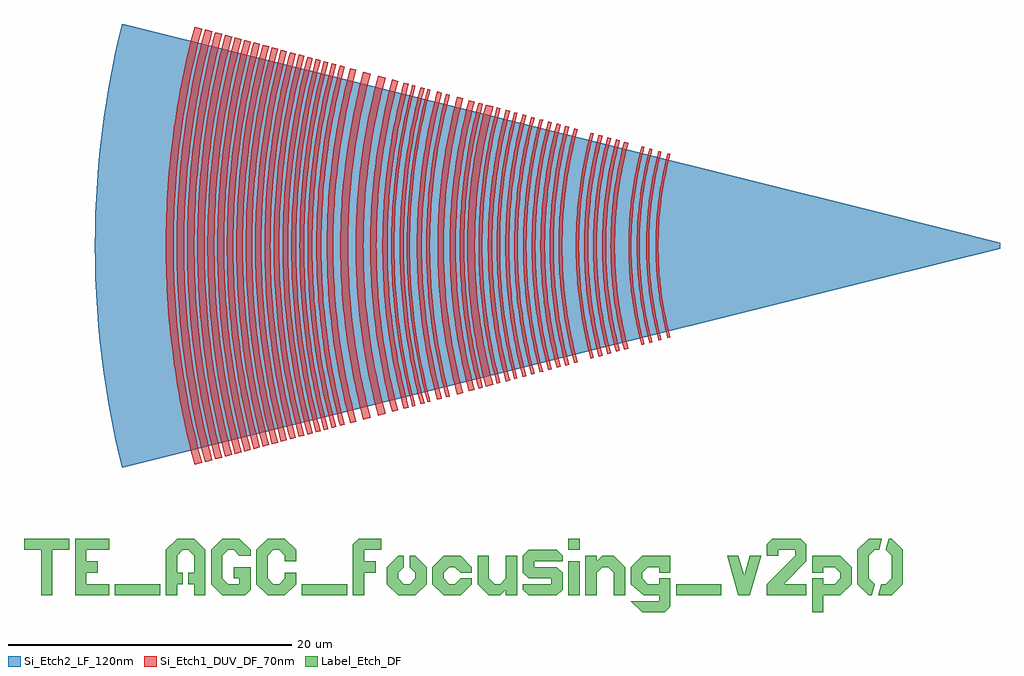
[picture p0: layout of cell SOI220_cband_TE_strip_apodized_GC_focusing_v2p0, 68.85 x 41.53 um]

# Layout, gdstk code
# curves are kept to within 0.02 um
import gdstk
lib = gdstk.Library(unit=1e-6, precision=1e-09)
def R(c, l, rs):  # rectangles x0, y0, x1, y1
    for r in rs: c.add(gdstk.rectangle(r[:2], r[2:], *l))
def P(c, l, *ps):  # polygons
    for p in ps: c.add(gdstk.Polygon(p, *l))
Si_Etch2_LF_120nm = (3, 0)
Si_Etch1_DUV_DF_70nm = (6, 0)
Label_Etch_DF = (100, 0)

text_gdsfactorypcomponen = lib.new_cell('text_gdsfactorypcomponentsptextsptext_TTE_AGC_focusing__eb78bc8c')
R(text_gdsfactorypcomponen, Label_Etch_DF, [(6.8,0,10,0.8), (20,0,23.2,0.8), (38.8,0,39.6,2.4), (46.4,0,49.6,0.8), (38.8,3.2,39.6,4)])
P(text_gdsfactorypcomponen, Label_Etch_DF, [(26.8,0),(26,0.8),(26,2),(26.8,2.8),(27.2,2.8),(27.2,2),(26.8,1.6),(26.8,1.2),(27.2,0.8),(27.6,0.8),(28,1.2),(28,1.6),(27.6,2),(27.6,2.8),(28,2.8),(28.8,2),(28.8,0.8),(28,0)],
  [(30,0),(29.2,0.8),(29.2,2),(30,2.8),(31.2,2.8),(32,2),(32,1.6),(31.2,1.6),(30.8,2),(30.4,2),(30,1.6),(30,1.2),(30.4,0.8),(30.8,0.8),(31.2,1.2),(32,1.2),(32,0.8),(31.2,0)],
  [(33.2,0),(32.4,0.8),(32.4,2.8),(33.2,2.8),(33.2,1.2),(33.6,0.8),(34,0.8),(34.4,1.2),(34.4,2.8),(35.2,2.8),(35.2,0),(34.4,0),(34.4,0.4),(34,0)],
  [(40,0),(40,2.8),(40.8,2.8),(40.8,2.4),(41.2,2.8),(42,2.8),(42.8,2),(42.8,0),(42,0),(42,1.6),(41.6,2),(41.2,2),(40.8,1.6),(40.8,0)],
  [(44,-1.2),(43.2,-0.4),(45.2,-0.4),(45.2,0),(44.136,0),(43.2,0.8),(43.2,2),(44,2.8),(46,2.8),(46,1.6),(45.2,1.6),(45.2,2),(44.4,2),(44,1.6),(44,1.2),(44.4,0.8),(45.2,0.8),(45.2,1.2),(46,1.2),(46,-0.8),(45.6,-1.2)],
  [(50.8,0),(50,2.8),(50.8,2.8),(51.2,1.4),(51.6,2.8),(52.4,2.8),(51.6,0)],
  [(56,-1.2),(56,1.2),(56.8,1.2),(56.8,0.8),(57.6,0.8),(58,1.2),(58,1.6),(57.6,2),(56.8,2),(56.8,1.6),(56,1.6),(56,2.8),(58,2.8),(58.8,2),(58.8,0.8),(58,0),(56.8,0),(56.8,-1.2)],
  [(36,0),(35.6,0.4),(35.6,0.8),(37.6,0.8),(37.6,1.2),(36,1.2),(35.6,1.6),(35.6,2.8),(36,3.2),(38,3.2),(38.4,2.8),(38.4,2.4),(36.4,2.4),(36.4,2),(38,2),(38.4,1.6),(38.4,0.4),(38,0)],
  [(1.6,0),(1.6,3.2),(0.4,3.2),(0.4,4),(3.6,4),(3.6,3.2),(2.4,3.2),(2.4,0)],
  [(4,0),(4,4),(6.4,4),(6.4,3.2),(4.8,3.2),(4.8,2.4),(5.6,2.4),(5.6,1.6),(4.8,1.6),(4.8,0.8),(6.4,0.8),(6.4,0)],
  [(10.396,0),(10.4,3.2),(11.2,4),(12.404,4),(13.2,3.2),(13.2,0),(12.404,0),(12.404,0.8),(12,0.8),(12,1.6),(12.404,1.6),(12.404,2.8),(12,3.2),(11.6,3.2),(11.2,2.8),(11.2,1.6),(11.6,1.6),(11.6,0.8),(11.2,0.8),(11.2,0)],
  [(14.4,0),(13.6,0.8),(13.6,3.2),(14.4,4),(15.6,4),(16.4,3.2),(16.4,2.8),(15.6,2.8),(15.2,3.2),(14.8,3.2),(14.4,2.8),(14.4,1.2),(14.8,0.8),(15.6,0.8),(15.6,1.2),(15.2,1.2),(15.2,2),(16.4,2),(16.4,0.4),(16,0)],
  [(17.6,0),(16.8,0.8),(16.8,3.2),(17.6,4),(18.8,4),(19.6,3.2),(19.6,2.4),(18.8,2.4),(18.8,2.8),(18.4,3.2),(18,3.2),(17.6,2.8),(17.6,1.2),(18,0.8),(18.4,0.8),(18.8,1.2),(18.8,1.6),(19.6,1.6),(19.6,0.8),(18.8,0)],
  [(23.6,0),(23.6,3.6),(24,4),(25.6,4),(25.6,3.2),(24.4,3.2),(24.4,2.4),(25.2,2.4),(25.2,1.6),(24.4,1.6),(24.4,0)],
  [(52.8,0),(52.8,0.8),(54.8,2.8),(54.8,3.2),(53.6,3.2),(53.6,2.8),(52.8,2.8),(52.8,3.6),(53.2,4),(55.2,4),(55.6,3.6),(55.6,2.4),(54,0.8),(55.6,0.8),(55.6,0)],
  [(60,0),(59.2,0.8),(59.2,3.2),(60,4),(60.92,4),(60.72,3.2),(60.4,3.2),(60,2.8),(60,1.2),(60.4,0.8),(60.2,0)],
  [(60.68,0),(60.88,0.8),(61.2,0.8),(61.6,1.2),(61.6,2.8),(61.2,3.2),(61.4,4),(61.6,4),(62.4,3.2),(62.4,0.8),(61.6,0)])

soi220_cband_te_strip_ap = lib.new_cell('SOI220_cband_TE_strip_apodized_GC_focusing_v2p0')
P(soi220_cband_te_strip_ap, Si_Etch2_LF_120nm, [(-61.929,-15.666),(-62.438,-13.463),(-62.869,-11.245),(-63.056,-10.13),(-63.37,-7.892),(-63.607,-5.644),(-63.695,-4.517),(-63.814,-2.26),(-63.853,0),(-63.814,2.26),(-63.695,4.517),(-63.607,5.644),(-63.37,7.892),(-63.056,10.13),(-62.869,11.245),(-62.438,13.463),(-61.929,15.666),(0,0.225),(0,-0.225)])
P(soi220_cband_te_strip_ap, Si_Etch1_DUV_DF_70nm, [(-23.439,-6.522),(-23.835,-4.808),(-24.111,-3.071),(-24.251,-1.538),(-24.298,0),(-24.251,1.538),(-24.111,3.071),(-23.835,4.808),(-23.439,6.522),(-23.246,6.47),(-23.639,4.77),(-23.884,3.263),(-24.037,1.744),(-24.098,0),(-24.037,-1.744),(-23.884,-3.263),(-23.639,-4.77),(-23.246,-6.47)],
  [(-24.075,-6.692),(-24.481,-4.934),(-24.734,-3.375),(-24.908,-1.579),(-24.956,0),(-24.908,1.579),(-24.734,3.375),(-24.481,4.934),(-24.075,6.692),(-23.882,6.641),(-24.285,4.896),(-24.536,3.349),(-24.708,1.566),(-24.756,0),(-24.708,-1.566),(-24.536,-3.349),(-24.285,-4.896),(-23.882,-6.641)],
  [(-24.72,-6.864),(-25.091,-5.288),(-25.396,-3.462),(-25.559,-1.85),(-25.623,0),(-25.559,1.85),(-25.396,3.462),(-25.091,5.288),(-24.72,6.864),(-24.526,6.813),(-24.895,5.248),(-25.198,3.436),(-25.374,1.607),(-25.423,0),(-25.374,-1.607),(-25.198,-3.436),(-24.895,-5.248),(-24.526,-6.813)],
  [(-25.282,-7.015),(-25.662,-5.405),(-25.974,-3.538),(-26.156,-1.655),(-26.206,0),(-26.156,1.655),(-25.974,3.538),(-25.662,5.405),(-25.282,7.015),(-25.089,6.964),(-25.512,5.134),(-25.776,3.512),(-25.956,1.643),(-26.006,0),(-25.956,-1.643),(-25.776,-3.512),(-25.512,-5.134),(-25.089,-6.964)],
  [(-26.511,-7.345),(-26.908,-5.658),(-27.235,-3.704),(-27.409,-1.98),(-27.478,0),(-27.409,1.98),(-27.235,3.704),(-26.908,5.658),(-26.511,7.345),(-26.213,7.266),(-26.654,5.356),(-26.93,3.664),(-27.118,1.714),(-27.17,0),(-27.118,-1.714),(-26.93,-3.664),(-26.654,-5.356),(-26.213,-7.266)],
  [(-27.082,-7.498),(-27.537,-5.529),(-27.822,-3.781),(-27.998,-2.02),(-28.069,0),(-27.998,2.02),(-27.822,3.781),(-27.537,5.529),(-27.082,7.498),(-26.811,7.426),(-27.262,5.475),(-27.544,3.745),(-27.719,2.001),(-27.789,0),(-27.719,-2.001),(-27.544,-3.745),(-27.262,-5.475),(-26.811,-7.426)],
  [(-27.692,-7.66),(-28.106,-5.901),(-28.447,-3.864),(-28.645,-1.807),(-28.7,0),(-28.645,1.807),(-28.447,3.864),(-28.106,5.901),(-27.692,7.66),(-27.442,7.595),(-27.903,5.599),(-28.191,3.83),(-28.371,2.047),(-28.442,0),(-28.371,-2.047),(-28.191,-3.83),(-27.903,-5.599),(-27.442,-7.595)],
  [(-28.306,-7.825),(-28.782,-5.769),(-29.079,-3.948),(-29.263,-2.109),(-29.337,0),(-29.263,2.109),(-29.079,3.948),(-28.782,5.769),(-28.306,7.825),(-28.03,7.752),(-28.45,5.972),(-28.795,3.91),(-28.978,2.089),(-29.051,0),(-28.978,-2.089),(-28.795,-3.91),(-28.45,-5.972),(-28.03,-7.752)],
  [(-28.877,-7.978),(-29.361,-5.882),(-29.663,-4.024),(-29.87,-1.882),(-29.927,0),(-29.87,1.882),(-29.663,4.024),(-29.361,5.882),(-28.877,7.978),(-28.661,7.921),(-29.09,6.102),(-29.442,3.995),(-29.647,1.868),(-29.704,0),(-29.647,-1.868),(-29.442,-3.995),(-29.09,-6.102),(-28.661,-7.921)],
  [(-30.043,-8.291),(-30.492,-6.387),(-30.861,-4.182),(-31.076,-1.956),(-31.135,0),(-31.076,1.956),(-30.861,4.182),(-30.492,6.387),(-30.043,8.291),(-29.791,8.224),(-30.236,6.335),(-30.602,4.148),(-30.797,2.217),(-30.874,0),(-30.797,-2.217),(-30.602,-4.148),(-30.236,-6.335),(-29.791,-8.224)],
  [(-30.658,-8.455),(-30.934,-7.35),(-31.171,-6.234),(-31.492,-4.265),(-31.621,-3.132),(-31.71,-1.995),(-31.771,0),(-31.71,1.995),(-31.621,3.132),(-31.492,4.265),(-31.171,6.234),(-30.934,7.35),(-30.658,8.455),(-30.388,8.384),(-30.842,6.458),(-31.215,4.228),(-31.432,1.978),(-31.492,0),(-31.432,-1.978),(-31.215,-4.228),(-30.842,-6.458),(-30.388,-8.384)],
  [(-31.282,-8.623),(-31.564,-7.495),(-31.806,-6.357),(-32.133,-4.349),(-32.337,-2.324),(-32.398,-1.163),(-32.418,0),(-32.398,1.163),(-32.337,2.324),(-32.133,4.349),(-31.806,6.357),(-31.564,7.495),(-31.282,8.623),(-30.977,8.542),(-31.256,7.424),(-31.496,6.297),(-31.82,4.308),(-32.022,2.302),(-32.082,1.152),(-32.102,0),(-32.082,-1.152),(-32.022,-2.302),(-31.82,-4.308),(-31.496,-6.297),(-31.256,-7.424),(-30.977,-8.542)],
  [(-31.875,-8.78),(-32.349,-6.765),(-32.74,-4.429),(-32.874,-3.253),(-32.967,-2.072),(-33.03,0),(-32.967,2.072),(-32.874,3.253),(-32.74,4.429),(-32.349,6.765),(-31.875,8.78),(-31.625,8.715),(-32.096,6.714),(-32.31,5.558),(-32.484,4.395),(-32.69,2.349),(-32.751,1.175),(-32.772,0),(-32.751,-1.175),(-32.69,-2.349),(-32.484,-4.395),(-32.31,-5.558),(-32.096,-6.714),(-31.625,-8.715)],
  [(-32.461,-8.938),(-32.753,-7.77),(-33.004,-6.591),(-33.342,-4.508),(-33.479,-3.31),(-33.574,-2.109),(-33.638,0),(-33.574,2.109),(-33.479,3.31),(-33.342,4.508),(-33.004,6.591),(-32.753,7.77),(-32.461,8.938),(-32.239,8.88),(-32.529,7.718),(-32.778,6.547),(-33.114,4.478),(-33.25,3.288),(-33.344,2.095),(-33.408,0),(-33.344,-2.095),(-33.25,-3.288),(-33.114,-4.478),(-32.778,-6.547),(-32.529,-7.718),(-32.239,-8.88)],
  [(-33.069,-9.101),(-33.561,-7.011),(-33.785,-5.805),(-33.966,-4.59),(-34.105,-3.371),(-34.202,-2.147),(-34.267,0),(-34.202,2.147),(-34.105,3.371),(-33.966,4.59),(-33.785,5.805),(-33.561,7.011),(-33.069,9.101),(-32.83,9.038),(-33.319,6.962),(-33.541,5.764),(-33.721,4.558),(-33.859,3.347),(-33.955,2.132),(-34.02,0),(-33.955,-2.132),(-33.859,-3.347),(-33.721,-4.558),(-33.541,-5.764),(-33.319,-6.962),(-32.83,-9.038)],
  [(-33.674,-9.263),(-34.175,-7.137),(-34.402,-5.908),(-34.587,-4.672),(-34.728,-3.431),(-34.826,-2.186),(-34.893,0),(-34.826,2.186),(-34.728,3.431),(-34.587,4.672),(-34.402,5.908),(-34.175,7.137),(-33.674,9.263),(-33.413,9.195),(-33.91,7.083),(-34.136,5.863),(-34.319,4.637),(-34.459,3.405),(-34.557,2.169),(-34.623,0),(-34.557,-2.169),(-34.459,-3.405),(-34.319,-4.637),(-34.136,-5.863),(-33.91,-7.083),(-33.413,-9.195)],
  [(-34.26,-9.421),(-34.77,-7.258),(-35.002,-6.009),(-35.19,-4.752),(-35.333,-3.489),(-35.434,-2.222),(-35.501,0),(-35.434,2.222),(-35.333,3.489),(-35.19,4.752),(-35.002,6.009),(-34.77,7.258),(-34.26,9.421),(-34.04,9.363),(-34.547,7.212),(-34.777,5.971),(-34.964,4.722),(-35.106,3.467),(-35.206,2.208),(-35.273,0),(-35.206,-2.208),(-35.106,-3.467),(-34.964,-4.722),(-34.777,-5.971),(-34.547,-7.212),(-34.04,-9.363)],
  [(-34.863,-9.582),(-35.381,-7.382),(-35.616,-6.111),(-35.807,-4.833),(-36.034,-2.583),(-36.102,-1.292),(-36.124,0),(-36.102,1.292),(-36.034,2.583),(-35.807,4.833),(-35.616,6.111),(-35.381,7.382),(-34.863,9.582),(-34.566,9.504),(-35.08,7.321),(-35.313,6.06),(-35.503,4.793),(-35.648,3.519),(-35.749,2.242),(-35.817,0),(-35.749,-2.242),(-35.648,-3.519),(-35.503,-4.793),(-35.313,-6.06),(-35.08,-7.321),(-34.566,-9.504)],
  [(-35.497,-9.752),(-36.025,-7.512),(-36.264,-6.219),(-36.459,-4.918),(-36.608,-3.612),(-36.711,-2.3),(-36.781,0),(-36.711,2.3),(-36.608,3.612),(-36.459,4.918),(-36.264,6.219),(-36.025,7.512),(-35.497,9.752),(-35.243,9.685),(-35.767,7.46),(-36.005,6.176),(-36.198,4.884),(-36.427,2.61),(-36.495,1.306),(-36.518,0),(-36.495,-1.306),(-36.427,-2.61),(-36.198,-4.884),(-36.005,-6.176),(-35.767,-7.46),(-35.243,-9.685)],
  [(-36.271,-9.958),(-36.595,-8.658),(-36.875,-7.344),(-37.252,-5.023),(-37.489,-2.684),(-37.559,-1.343),(-37.582,0),(-37.559,1.343),(-37.489,2.684),(-37.252,5.023),(-36.875,7.344),(-36.595,8.658),(-36.271,9.958),(-35.749,9.821),(-36.069,8.536),(-36.345,7.24),(-36.717,4.953),(-36.95,2.647),(-37.019,1.324),(-37.042,0),(-37.019,-1.324),(-36.95,-2.647),(-36.717,-4.953),(-36.345,-7.24),(-36.069,-8.536),(-35.749,-9.821)],
  [(-36.785,-10.097),(-37.331,-7.779),(-37.579,-6.44),(-37.78,-5.093),(-38.019,-2.721),(-38.09,-1.362),(-38.114,0),(-38.09,1.362),(-38.019,2.721),(-37.78,5.093),(-37.579,6.44),(-37.331,7.779),(-36.785,10.097),(-36.477,10.016),(-36.804,8.705),(-37.085,7.384),(-37.465,5.051),(-37.702,2.699),(-37.772,1.351),(-37.796,0),(-37.772,-1.351),(-37.702,-2.699),(-37.465,-5.051),(-37.085,-7.384),(-36.804,-8.705),(-36.477,-10.016)],
  [(-37.469,-10.279),(-37.804,-8.936),(-38.092,-7.579),(-38.482,-5.184),(-38.639,-3.806),(-38.748,-2.425),(-38.822,0),(-38.748,2.425),(-38.639,3.806),(-38.482,5.184),(-38.092,7.579),(-37.804,8.936),(-37.469,10.279),(-37.056,10.171),(-37.606,7.835),(-37.856,6.486),(-38.059,5.129),(-38.214,3.766),(-38.322,2.399),(-38.395,0),(-38.322,-2.399),(-38.214,-3.766),(-38.059,-5.129),(-37.856,-6.486),(-37.606,-7.835),(-37.056,-10.171)],
  [(-38.3,-10.502),(-38.867,-8.091),(-39.125,-6.698),(-39.335,-5.298),(-39.583,-2.831),(-39.658,-1.416),(-39.682,0),(-39.658,1.416),(-39.583,2.831),(-39.335,5.298),(-39.125,6.698),(-38.867,8.091),(-38.3,10.502),(-37.872,10.39),(-38.434,8.003),(-38.689,6.625),(-38.897,5.24),(-39.055,3.847),(-39.165,2.451),(-39.24,0),(-39.165,-2.451),(-39.055,-3.847),(-38.897,-5.24),(-38.689,-6.625),(-38.434,-8.003),(-37.872,-10.39)],
  [(-39.066,-10.708),(-39.646,-8.249),(-39.908,-6.829),(-40.122,-5.401),(-40.286,-3.966),(-40.399,-2.526),(-40.476,0),(-40.399,2.526),(-40.286,3.966),(-40.122,5.401),(-39.908,6.829),(-39.646,8.249),(-39.066,10.708),(-38.813,10.642),(-39.16,9.249),(-39.459,7.845),(-39.862,5.367),(-40.114,2.868),(-40.189,1.435),(-40.214,0),(-40.189,-1.435),(-40.114,-2.868),(-39.862,-5.367),(-39.459,-7.845),(-39.16,-9.249),(-38.813,-10.642)],
  [(-39.708,-10.88),(-40.296,-8.382),(-40.563,-6.939),(-40.78,-5.487),(-40.91,-4.395),(-41.037,-2.933),(-41.115,-1.468),(-41.14,0),(-41.115,1.468),(-41.037,2.933),(-40.91,4.395),(-40.78,5.487),(-40.563,6.939),(-40.296,8.382),(-39.708,10.88),(-39.366,10.79),(-39.718,9.378),(-40.02,7.954),(-40.429,5.441),(-40.594,3.996),(-40.708,2.545),(-40.786,0),(-40.708,-2.545),(-40.594,-3.996),(-40.429,-5.441),(-40.02,-7.954),(-39.718,-9.378),(-39.366,-10.79)],
  [(-40.386,-11.061),(-40.747,-9.616),(-40.984,-8.522),(-41.256,-7.055),(-41.476,-5.579),(-41.645,-4.097),(-41.763,-2.61),(-41.842,0),(-41.763,2.61),(-41.645,4.097),(-41.476,5.579),(-41.256,7.055),(-40.984,8.522),(-40.747,9.616),(-40.386,11.061),(-40.186,11.009),(-40.627,9.207),(-40.923,7.752),(-41.168,6.287),(-41.362,4.815),(-41.556,2.597),(-41.635,0),(-41.556,-2.597),(-41.362,-4.815),(-41.168,-6.287),(-40.923,-7.752),(-40.627,-9.207),(-40.186,-11.009)],
  [(-40.876,-11.193),(-41.241,-9.729),(-41.555,-8.253),(-41.979,-5.645),(-42.15,-4.145),(-42.268,-2.641),(-42.323,-1.509),(-42.349,0),(-42.323,1.509),(-42.268,2.641),(-42.15,4.145),(-41.979,5.645),(-41.555,8.253),(-41.241,9.729),(-40.876,11.193),(-40.599,11.12),(-40.962,9.665),(-41.274,8.198),(-41.695,5.608),(-41.865,4.118),(-41.983,2.623),(-42.063,0),(-41.983,-2.623),(-41.865,-4.118),(-41.695,-5.608),(-41.274,-8.198),(-40.962,-9.665),(-40.599,-11.12)],
  [(-41.449,-11.347),(-41.82,-9.863),(-42.063,-8.741),(-42.342,-7.236),(-42.568,-5.723),(-42.741,-4.202),(-42.862,-2.677),(-42.943,0),(-42.862,2.677),(-42.741,4.202),(-42.568,5.723),(-42.342,7.236),(-42.063,8.741),(-41.82,9.863),(-41.449,11.347),(-41.243,11.293),(-41.612,9.815),(-41.928,8.325),(-42.193,6.826),(-42.45,4.939),(-42.649,2.664),(-42.73,0),(-42.649,-2.664),(-42.45,-4.939),(-42.193,-6.826),(-41.928,-8.325),(-41.612,-9.815),(-41.243,-11.293)],
  [(-42.053,-11.508),(-42.428,-10.004),(-42.751,-8.486),(-43.021,-6.956),(-43.188,-5.805),(-43.46,-3.102),(-43.541,-1.552),(-43.568,0),(-43.541,1.552),(-43.46,3.102),(-43.188,5.805),(-43.021,6.956),(-42.751,8.486),(-42.428,10.004),(-42.053,11.508),(-41.706,11.417),(-42.078,9.923),(-42.399,8.417),(-42.832,5.758),(-43.102,3.077),(-43.182,1.539),(-43.209,0),(-43.182,-1.539),(-43.102,-3.077),(-42.832,-5.758),(-42.399,-8.417),(-42.078,-9.923),(-41.706,-11.417)],
  [(-42.882,-11.731),(-43.266,-10.197),(-43.517,-9.037),(-43.805,-7.482),(-44.039,-5.916),(-44.179,-4.738),(-44.317,-3.161),(-44.4,-1.583),(-44.427,0),(-44.4,1.583),(-44.317,3.161),(-44.179,4.738),(-44.039,5.916),(-43.805,7.482),(-43.517,9.037),(-43.266,10.197),(-42.882,11.731),(-42.456,11.618),(-42.836,10.098),(-43.085,8.949),(-43.37,7.409),(-43.602,5.859),(-43.74,4.692),(-43.877,3.131),(-43.959,1.567),(-43.986,0),(-43.959,-1.567),(-43.877,-3.131),(-43.74,-4.692),(-43.602,-5.859),(-43.37,-7.409),(-43.085,-8.949),(-42.836,-10.098),(-42.456,-11.618)],
  [(-43.871,-11.994),(-44.262,-10.427),(-44.598,-8.844),(-44.815,-7.65),(-45.053,-6.051),(-45.236,-4.443),(-45.364,-2.829),(-45.422,-1.618),(-45.45,0),(-45.422,1.618),(-45.364,2.829),(-45.236,4.443),(-45.053,6.051),(-44.815,7.65),(-44.598,8.844),(-44.262,10.427),(-43.871,11.994),(-43.343,11.855),(-43.73,10.304),(-44.062,8.74),(-44.276,7.56),(-44.512,5.979),(-44.693,4.39),(-44.819,2.796),(-44.876,1.599),(-44.904,0),(-44.876,-1.599),(-44.819,-2.796),(-44.693,-4.39),(-44.512,-5.979),(-44.276,-7.56),(-44.062,-8.74),(-43.73,-10.304),(-43.343,-11.855)],
  [(-44.921,-12.275),(-45.321,-10.672),(-45.585,-9.457),(-45.886,-7.83),(-46.131,-6.191),(-46.277,-4.958),(-46.422,-3.31),(-46.508,-1.655),(-46.537,0),(-46.508,1.655),(-46.422,3.31),(-46.277,4.958),(-46.131,6.191),(-45.886,7.83),(-45.585,9.457),(-45.321,10.672),(-44.921,12.275),(-44.39,12.136),(-44.786,10.548),(-45.047,9.348),(-45.345,7.739),(-45.587,6.12),(-45.772,4.494),(-45.901,2.863),(-45.972,1.227),(-45.988,0),(-45.972,-1.227),(-45.901,-2.863),(-45.772,-4.494),(-45.587,-6.12),(-45.345,-7.739),(-45.047,-9.348),(-44.786,-10.548),(-44.39,-12.136)],
  [(-45.843,-12.522),(-46.25,-10.886),(-46.52,-9.648),(-46.828,-7.987),(-47.077,-6.317),(-47.268,-4.639),(-47.401,-2.954),(-47.475,-1.267),(-47.491,0),(-47.475,1.267),(-47.401,2.954),(-47.268,4.639),(-47.077,6.317),(-46.828,7.987),(-46.52,9.648),(-46.25,10.886),(-45.843,12.522),(-45.402,12.407),(-45.71,11.191),(-46.073,9.557),(-46.378,7.912),(-46.625,6.257),(-46.814,4.595),(-46.946,2.926),(-47.019,1.255),(-47.035,0),(-47.019,-1.255),(-46.946,-2.926),(-46.814,-4.595),(-46.625,-6.257),(-46.378,-7.912),(-46.073,-9.557),(-45.71,-11.191),(-45.402,-12.407)],
  [(-46.558,-12.715),(-46.973,-11.053),(-47.33,-9.375),(-47.627,-7.687),(-47.812,-6.413),(-47.963,-5.136),(-48.112,-3.428),(-48.202,-1.714),(-48.232,0),(-48.202,1.714),(-48.112,3.428),(-47.963,5.136),(-47.812,6.413),(-47.627,7.687),(-47.33,9.375),(-46.973,11.053),(-46.558,12.715),(-46.214,12.625),(-46.626,10.973),(-46.897,9.725),(-47.207,8.051),(-47.459,6.367),(-47.651,4.675),(-47.785,2.978),(-47.859,1.277),(-47.876,0),(-47.859,-1.277),(-47.785,-2.978),(-47.651,-4.675),(-47.459,-6.367),(-47.207,-8.051),(-46.897,-9.725),(-46.626,-10.973),(-46.214,-12.625)],
  [(-47.153,-12.875),(-47.573,-11.192),(-47.934,-9.493),(-48.236,-7.783),(-48.422,-6.494),(-48.619,-4.768),(-48.727,-3.47),(-48.818,-1.737),(-48.848,0),(-48.818,1.737),(-48.727,3.47),(-48.619,4.768),(-48.422,6.494),(-48.236,7.783),(-47.934,9.493),(-47.573,11.192),(-47.153,12.875),(-46.828,12.789),(-47.246,11.116),(-47.52,9.852),(-47.834,8.156),(-48.089,6.45),(-48.285,4.736),(-48.392,3.447),(-48.482,1.725),(-48.512,0),(-48.482,-1.725),(-48.392,-3.447),(-48.285,-4.736),(-48.089,-6.45),(-47.834,-8.156),(-47.52,-9.852),(-47.246,-11.116),(-46.828,-12.789)],
  [(-47.705,-13.023),(-48.13,-11.32),(-48.495,-9.602),(-48.8,-7.872),(-48.988,-6.568),(-49.187,-4.824),(-49.325,-3.072),(-49.389,-1.757),(-49.419,0),(-49.389,1.757),(-49.325,3.072),(-49.187,4.824),(-48.988,6.568),(-48.8,7.872),(-48.495,9.602),(-48.13,11.32),(-47.705,13.023),(-47.387,12.939),(-47.809,11.246),(-48.172,9.539),(-48.475,7.82),(-48.662,6.525),(-48.86,4.792),(-48.997,3.052),(-49.06,1.745),(-49.09,0),(-49.06,-1.745),(-48.997,-3.052),(-48.86,-4.792),(-48.662,-6.525),(-48.475,-7.82),(-48.172,-9.539),(-47.809,-11.246),(-47.387,-12.939)],
  [(-48.261,-13.172),(-48.69,-11.45),(-49.06,-9.712),(-49.369,-7.962),(-49.56,-6.643),(-49.716,-5.32),(-49.871,-3.55),(-49.964,-1.776),(-49.995,0),(-49.964,1.776),(-49.871,3.55),(-49.716,5.32),(-49.56,6.643),(-49.369,7.962),(-49.06,9.712),(-48.69,11.45),(-48.261,13.172),(-47.927,13.084),(-48.354,11.372),(-48.721,9.646),(-49.028,7.908),(-49.218,6.598),(-49.417,4.845),(-49.556,3.086),(-49.633,1.323),(-49.65,0),(-49.633,-1.323),(-49.556,-3.086),(-49.417,-4.845),(-49.218,-6.598),(-49.028,-7.908),(-48.721,-9.646),(-48.354,-11.372),(-47.927,-13.084)],
  [(-48.851,-13.33),(-49.286,-11.587),(-49.66,-9.828),(-49.9,-8.502),(-50.166,-6.723),(-50.369,-4.937),(-50.51,-3.145),(-50.575,-1.797),(-50.606,0),(-50.575,1.797),(-50.51,3.145),(-50.369,4.937),(-50.166,6.723),(-49.9,8.502),(-49.66,9.828),(-49.286,11.587),(-48.851,13.33),(-48.479,13.232),(-48.911,11.5),(-49.282,9.755),(-49.592,7.997),(-49.784,6.673),(-49.986,4.9),(-50.126,3.121),(-50.19,1.784),(-50.221,0),(-50.19,-1.784),(-50.126,-3.121),(-49.986,-4.9),(-49.784,-6.673),(-49.592,-7.997),(-49.282,-9.755),(-48.911,-11.5),(-48.479,-13.232)],
  [(-49.46,-13.493),(-49.9,-11.728),(-50.278,-9.949),(-50.521,-8.606),(-50.79,-6.805),(-50.951,-5.45),(-51.109,-3.637),(-51.204,-1.819),(-51.236,0),(-51.204,1.819),(-51.109,3.637),(-50.951,5.45),(-50.79,6.805),(-50.521,8.606),(-50.278,9.949),(-49.9,11.728),(-49.46,13.493),(-49.081,13.393),(-49.518,11.64),(-49.893,9.874),(-50.207,8.095),(-50.401,6.754),(-50.561,5.409),(-50.718,3.61),(-50.812,1.806),(-50.844,0),(-50.812,-1.806),(-50.718,-3.61),(-50.561,-5.409),(-50.401,-6.754),(-50.207,-8.095),(-49.893,-9.874),(-49.518,-11.64),(-49.081,-13.393)],
  [(-50.082,-13.659),(-50.527,-11.873),(-50.821,-10.523),(-51.156,-8.712),(-51.428,-6.889),(-51.591,-5.518),(-51.751,-3.682),(-51.848,-1.843),(-51.88,0),(-51.848,1.843),(-51.751,3.682),(-51.591,5.518),(-51.428,6.889),(-51.156,8.712),(-50.821,10.523),(-50.527,11.873),(-50.082,13.659),(-49.681,13.554),(-50.123,11.78),(-50.414,10.44),(-50.747,8.643),(-51.017,6.835),(-51.224,5.019),(-51.367,3.197),(-51.433,1.828),(-51.465,0),(-51.433,-1.828),(-51.367,-3.197),(-51.224,-5.019),(-51.017,-6.835),(-50.747,-8.643),(-50.414,-10.44),(-50.123,-11.78),(-49.681,-13.554)],
  [(-50.723,-13.831),(-51.173,-12.023),(-51.561,-10.198),(-51.885,-8.361),(-52.085,-6.976),(-52.251,-5.587),(-52.413,-3.728),(-52.511,-1.865),(-52.543,0),(-52.511,1.865),(-52.413,3.728),(-52.251,5.587),(-52.085,6.976),(-51.885,8.361),(-51.561,10.198),(-51.173,12.023),(-50.723,13.831),(-50.302,13.72),(-50.749,11.925),(-51.044,10.568),(-51.381,8.749),(-51.654,6.919),(-51.818,5.541),(-51.979,3.698),(-52.076,1.85),(-52.108,0),(-52.076,-1.85),(-51.979,-3.698),(-51.818,-5.541),(-51.654,-6.919),(-51.381,-8.749),(-51.044,-10.568),(-50.749,-11.925),(-50.302,-13.72)],
  [(-51.364,-14.004),(-51.822,-12.172),(-52.122,-10.788),(-52.466,-8.93),(-52.745,-7.063),(-52.959,-5.187),(-53.107,-3.303),(-53.19,-1.417),(-53.208,0),(-53.19,1.417),(-53.107,3.303),(-52.959,5.187),(-52.745,7.063),(-52.466,8.93),(-52.122,10.788),(-51.822,12.172),(-51.364,14.004),(-50.934,13.89),(-51.388,12.072),(-51.686,10.699),(-52.027,8.857),(-52.304,7.005),(-52.516,5.144),(-52.663,3.276),(-52.745,1.405),(-52.763,0),(-52.745,-1.405),(-52.663,-3.276),(-52.516,-5.144),(-52.304,-7.005),(-52.027,-8.857),(-51.686,-10.699),(-51.388,-12.072),(-50.934,-13.89)],
  [(-52.012,-14.176),(-52.474,-12.323),(-52.872,-10.453),(-53.127,-9.042),(-53.409,-7.15),(-53.626,-5.25),(-53.745,-3.821),(-53.845,-1.912),(-53.878,0),(-53.845,1.912),(-53.745,3.821),(-53.626,5.25),(-53.409,7.15),(-53.127,9.042),(-52.872,10.453),(-52.474,12.323),(-52.012,14.176),(-51.568,14.059),(-52.027,12.22),(-52.421,10.365),(-52.674,8.966),(-52.954,7.09),(-53.169,5.206),(-53.287,3.789),(-53.386,1.896),(-53.419,0),(-53.386,-1.896),(-53.287,-3.789),(-53.169,-5.206),(-52.954,-7.09),(-52.674,-8.966),(-52.421,-10.365),(-52.027,-12.22),(-51.568,-14.059)],
  [(-52.649,-14.348),(-53.117,-12.472),(-53.52,-10.578),(-53.778,-9.15),(-54.064,-7.236),(-54.235,-5.795),(-54.403,-3.866),(-54.505,-1.935),(-54.538,0),(-54.505,1.935),(-54.403,3.866),(-54.235,5.795),(-54.064,7.236),(-53.778,9.15),(-53.52,10.578),(-53.117,12.472),(-52.649,14.348),(-52.208,14.231),(-52.673,12.369),(-53.072,10.491),(-53.328,9.075),(-53.612,7.177),(-53.829,5.27),(-53.948,3.835),(-54.049,1.919),(-54.082,0),(-54.049,-1.919),(-53.948,-3.835),(-53.829,-5.27),(-53.612,-7.177),(-53.328,-9.075),(-53.072,-10.491),(-52.673,-12.369),(-52.208,-14.231)],
  [(-53.303,-14.522),(-53.777,-12.624),(-54.184,-10.708),(-54.446,-9.261),(-54.735,-7.325),(-54.957,-5.379),(-55.11,-3.426),(-55.196,-1.47),(-55.215,0),(-55.196,1.47),(-55.11,3.426),(-54.957,5.379),(-54.735,7.325),(-54.446,9.261),(-54.184,10.708),(-53.777,12.624),(-53.303,14.522),(-52.843,14.401),(-53.313,12.517),(-53.717,10.617),(-54.054,8.704),(-54.263,7.263),(-54.483,5.333),(-54.635,3.397),(-54.72,1.457),(-54.739,0),(-54.72,-1.457),(-54.635,-3.397),(-54.483,-5.333),(-54.263,-7.263),(-54.054,-8.704),(-53.717,-10.617),(-53.313,-12.517),(-52.843,-14.401)],
  [(-53.979,-14.702),(-54.458,-12.781),(-54.87,-10.841),(-55.215,-8.887),(-55.428,-7.416),(-55.653,-5.446),(-55.776,-3.964),(-55.88,-1.984),(-55.914,0),(-55.88,1.984),(-55.776,3.964),(-55.653,5.446),(-55.428,7.416),(-55.215,8.887),(-54.87,10.841),(-54.458,12.781),(-53.979,14.702),(-53.498,14.576),(-53.974,12.669),(-54.382,10.746),(-54.645,9.295),(-54.935,7.351),(-55.158,5.398),(-55.28,3.929),(-55.383,1.966),(-55.417,0),(-55.383,-1.966),(-55.28,-3.929),(-55.158,-5.398),(-54.935,-7.351),(-54.724,-8.81),(-54.382,-10.746),(-53.974,-12.669),(-53.498,-14.576)],
  [(-54.669,-14.888),(-55.155,-12.941),(-55.572,-10.978),(-55.921,-9),(-56.137,-7.509),(-56.364,-5.514),(-56.522,-3.512),(-56.594,-2.008),(-56.629,0),(-56.594,2.008),(-56.522,3.512),(-56.364,5.514),(-56.137,7.509),(-55.921,9),(-55.572,10.978),(-55.155,12.941),(-54.669,14.888),(-54.174,14.758),(-54.542,13.311),(-54.972,11.368),(-55.335,9.411),(-55.629,7.442),(-55.854,5.465),(-56.011,3.481),(-56.082,1.99),(-56.117,0),(-56.082,-1.99),(-56.011,-3.481),(-55.854,-5.465),(-55.629,-7.442),(-55.335,-9.411),(-54.972,-11.368),(-54.542,-13.311),(-54.174,-14.758)],
  [(-55.367,-15.075),(-55.742,-13.599),(-56.182,-11.614),(-56.552,-9.614),(-56.853,-7.604),(-57.083,-5.583),(-57.209,-4.063),(-57.316,-2.033),(-57.351,0),(-57.316,2.033),(-57.209,4.063),(-57.083,5.583),(-56.853,7.604),(-56.552,9.614),(-56.182,11.614),(-55.742,13.599),(-55.367,15.075),(-54.866,14.943),(-55.238,13.478),(-55.674,11.511),(-56.041,9.529),(-56.339,7.536),(-56.567,5.534),(-56.725,3.525),(-56.798,2.015),(-56.833,0),(-56.798,-2.015),(-56.725,-3.525),(-56.567,-5.534),(-56.339,-7.536),(-56.041,-9.529),(-55.674,-11.511),(-55.238,-13.478),(-54.866,-14.943)],
  [(-56.08,-15.266),(-56.578,-13.271),(-57.006,-11.257),(-57.281,-9.736),(-57.585,-7.7),(-57.819,-5.655),(-57.947,-4.115),(-58.054,-2.059),(-58.09,0),(-58.054,2.059),(-57.947,4.115),(-57.819,5.655),(-57.585,7.7),(-57.281,9.736),(-57.006,11.257),(-56.578,13.271),(-56.08,15.266),(-55.561,15.129),(-56.055,13.15),(-56.479,11.154),(-56.751,9.648),(-57.053,7.63),(-57.233,6.11),(-57.411,4.078),(-57.517,2.04),(-57.553,0),(-57.517,-2.04),(-57.411,-4.078),(-57.233,-6.11),(-57.053,-7.63),(-56.751,-9.648),(-56.479,-11.154),(-56.055,-13.15),(-55.561,-15.129)],
  [(-56.818,-15.463),(-57.322,-13.442),(-57.755,-11.402),(-58.034,-9.863),(-58.341,-7.8),(-58.526,-6.247),(-58.708,-4.169),(-58.817,-2.085),(-58.853,0),(-58.817,2.085),(-58.708,4.169),(-58.526,6.247),(-58.341,7.8),(-58.034,9.863),(-57.755,11.402),(-57.322,13.442),(-56.818,15.463),(-56.286,15.323),(-56.786,13.318),(-57.215,11.297),(-57.491,9.772),(-57.796,7.728),(-58.03,5.675),(-58.193,3.614),(-58.283,1.55),(-58.303,0),(-58.283,-1.55),(-58.193,-3.614),(-58.03,-5.675),(-57.796,-7.728),(-57.491,-9.772),(-57.215,-11.297),(-56.786,-13.318),(-56.286,-15.323)])
soi220_cband_te_strip_ap.add(gdstk.Reference(text_gdsfactorypcomponen, (-69.253,-24.666)))

lib.write_gds('SOI220_cband_TE_strip_apodized_GC_focusing_v2p0.gds')
